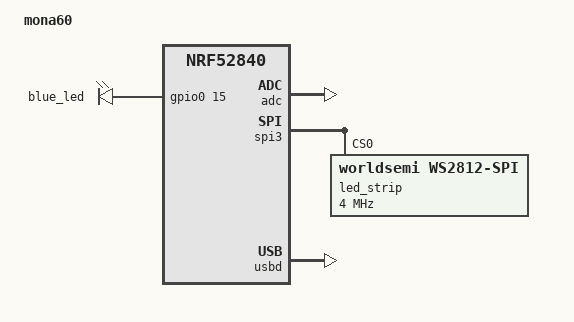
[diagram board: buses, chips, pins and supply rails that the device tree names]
/*
 * Copyright (c) 2021 The ZMK Contributors
 *
 * SPDX-License-Identifier: MIT
 */

#include <nordic/nrf52840_qiaa.dtsi>
#include "mona60-pinctrl.dtsi"
#include "arduino_pro_micro_pins.dtsi"
#include <dt-bindings/led/led.h>

/ {
    model = "mona60";
    compatible = "mona60";

    chosen {
        zephyr,code-partition = &code_partition;
        zephyr,sram = &sram0;
        zephyr,flash = &flash0;
    };

    leds {
        compatible = "gpio-leds";
        blue_led: led_0 {
            gpios = <&gpio0 15 GPIO_ACTIVE_HIGH>;
        };
    };
};

&adc {
    status = "okay";
};

&gpiote {
    status = "okay";
};

&gpio0 {
    status = "okay";
};

&gpio1 {
    status = "okay";
};

&i2c0 {
    compatible = "nordic,nrf-twi";
    pinctrl-0 = <&i2c0_default>;
    pinctrl-1 = <&i2c0_sleep>;
    pinctrl-names = "default", "sleep";
};

&spi3 {
    compatible = "nordic,nrf-spim";

    pinctrl-0 = <&spi3_default>;
    pinctrl-1 = <&spi3_sleep>;
    pinctrl-names = "default", "sleep";
    status = "okay";

    led_strip: ws2812@0 {
        compatible = "worldsemi,ws2812-spi";

        /* SPI */
        reg = <0>; /* ignored, but necessary for SPI bindings */
        spi-max-frequency = <4000000>;

        /* WS2812 */
        chain-length = <2>; /* LED strip length */
        spi-one-frame = <0x70>;
        spi-zero-frame = <0x40>;
        color-mapping = <LED_COLOR_ID_GREEN LED_COLOR_ID_RED LED_COLOR_ID_BLUE>;
    };
};

zephyr_udc0: &usbd {
    status = "okay";
};


&flash0 {
    /*
     * For more information, see:
     * http://docs.zephyrproject.org/latest/devices/dts/flash_partitions.html
     */
    partitions {
        compatible = "fixed-partitions";
        #address-cells = <1>;
        #size-cells = <1>;

        sd_partition: partition@0 {
            reg = <0x00000000 0x00026000>;
        };
        code_partition: partition@26000 {
            reg = <0x00026000 0x000c6000>;
        };

        /*
         * The flash starting at 0x000ec000 and ending at
         * 0x000f3fff is reserved for use by the application.
         */

        /*
         * Storage partition will be used by FCB/LittleFS/NVS
         * if enabled.
         */
        storage_partition: partition@ec000 {
            reg = <0x000ec000 0x00008000>;
        };

        boot_partition: partition@f4000 {
            reg = <0x000f4000 0x0000c000>;
        };
    };
};
